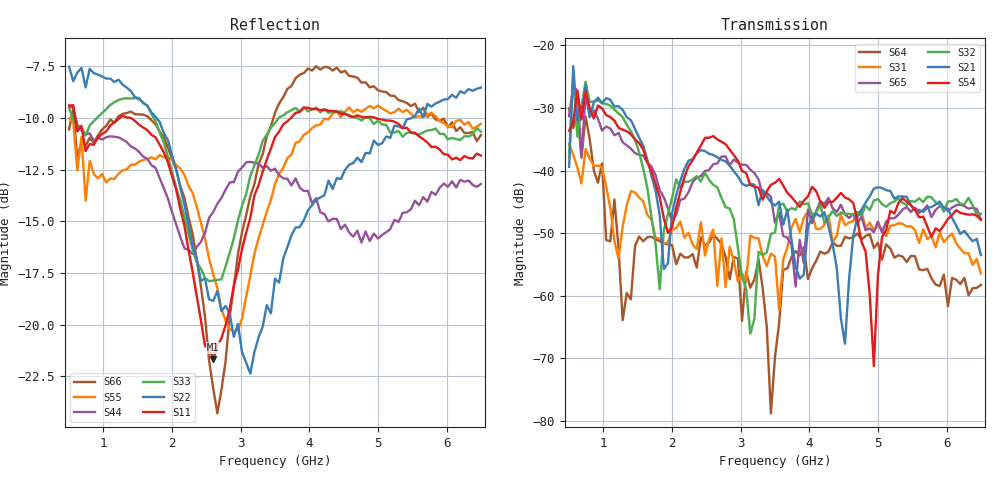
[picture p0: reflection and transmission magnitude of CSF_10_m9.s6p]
!Keysight Technologies,M9804A,MY58100912,A.14.10.03
!Date: Thursday, April 27, 2023 10:28:33
!Correction: S11(C  6-Port  )
!S12(C  6-Port  )
!S13(C  6-Port  )
!S14(C  6-Port  )
!S15(C  6-Port  )
!S16(C  6-Port  )
!S21(C  6-Port  )
!S22(C  6-Port  )
!S23(C  6-Port  )
!S24(C  6-Port  )
!S25(C  6-Port  )
!S26(C  6-Port  )
!S31(C  6-Port  )
!S32(C  6-Port  )
!S33(C  6-Port  )
!S34(C  6-Port  )
!S35(C  6-Port  )
!S36(C  6-Port  )
!S41(C  6-Port  )
!S42(C  6-Port  )
!S43(C  6-Port  )
!S44(C  6-Port  )
!S45(C  6-Port  )
!S46(C  6-Port  )
!S51(C  6-Port  )
!S52(C  6-Port  )
!S53(C  6-Port  )
!S54(C  6-Port  )
!S55(C  6-Port  )
!S56(C  6-Port  )
!S61(C  6-Port  )
!S62(C  6-Port  )
!S63(C  6-Port  )
!S64(C  6-Port  )
!S65(C  6-Port  )
!S66(C  6-Port  )
!S6P File: Measurement: :
# Hz S  RI  R 50
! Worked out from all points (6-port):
!   101 points, 500 MHz to 6.5 GHz, reference 50 ohm
!   strongest paths, dB at 500 MHz, 2 GHz, 3.5 GHz, 5 GHz, 6.5 GHz:
!     S54: -33.7, -49.1, -42.0, -56.8, -47.9
!     S21: -39.4, -46.8, -45.6, -42.7, -53.5
!     S32: -37.8, -44.4, -49.9, -44.6, -46.9
!     S65: -31.3, -48.1, -48.3, -48.1, -47.7
!     S31: -35.8, -49.5, -53.7, -48.9, -56.4
!     S64: -30.0, -51.9, -69.8, -51.5, -58.3
!   lowest |S11| = -21.7 dB at 2.6 GHz (marker M1), VSWR 1.18, Z = 42.7 + j2.1 ohm
!   |S11| at or under -10 dB: 589.5 MHz to 1.237 GHz (647.1 MHz wide, 70.9 % of centre); 1.403 GHz to 3.73 GHz (2.327 GHz wide, 90.7 % of centre); 4.969 GHz to end of sweep
